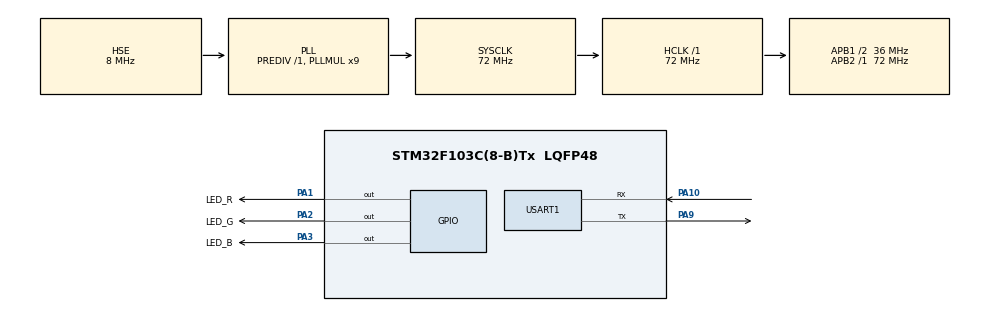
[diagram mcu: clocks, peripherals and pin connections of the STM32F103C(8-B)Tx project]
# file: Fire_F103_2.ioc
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FREERTOS.Tasks01=defaultTask,0,128,StartDefaultTask,Default,NULL,Dynamic,NULL,NULL;ledTask,0,128,StartLEDTask,Default,NULL,Dynamic,NULL,NULL;uartTask,-2,256,StartUartTAsk,Default,NULL,Dynamic,NULL,NULL
Mcu.Family=STM32F1
Mcu.Name=STM32F103C(8-B)Tx
Mcu.Package=LQFP48
NVIC.PriorityGroup=NVIC_PRIORITYGROUP_4
PA1.GPIO_Label=LED_R
PA1.PinState=GPIO_PIN_SET
PA1.Signal=GPIO_Output
PA10.Mode=Asynchronous
PA10.Signal=USART1_RX
PA13.Mode=Serial_Wire
PA13.Signal=SYS_JTMS-SWDIO
PA14.Mode=Serial_Wire
PA14.Signal=SYS_JTCK-SWCLK
PA2.GPIO_Label=LED_G
PA2.PinState=GPIO_PIN_SET
PA2.Signal=GPIO_Output
PA3.GPIO_Label=LED_B
PA3.PinState=GPIO_PIN_SET
PA3.Signal=GPIO_Output
PA9.Mode=Asynchronous
PA9.Signal=USART1_TX
PC14-OSC32_IN.Mode=LSE-External-Oscillator
PC14-OSC32_IN.Signal=RCC_OSC32_IN
PC15-OSC32_OUT.Mode=LSE-External-Oscillator
PC15-OSC32_OUT.Signal=RCC_OSC32_OUT
PD0-OSC_IN.Mode=HSE-External-Oscillator
PD0-OSC_IN.Signal=RCC_OSC_IN
PD1-OSC_OUT.Mode=HSE-External-Oscillator
PD1-OSC_OUT.Signal=RCC_OSC_OUT
ProjectManager.HeapSize=0x200
ProjectManager.StackSize=0x400
ProjectManager.TargetToolchain=MDK-ARM V5.32
RCC.AHBFreq_Value=72000000
RCC.APB1CLKDivider=RCC_HCLK_DIV2
RCC.APB1Freq_Value=36000000
RCC.APB1TimFreq_Value=72000000
RCC.APB2Freq_Value=72000000
RCC.APB2TimFreq_Value=72000000
RCC.HCLKFreq_Value=72000000
RCC.PLLMUL=RCC_PLL_MUL9
RCC.PLLSourceVirtual=RCC_PLLSOURCE_HSE
RCC.SYSCLKFreq_VALUE=72000000
RCC.SYSCLKSource=RCC_SYSCLKSOURCE_PLLCLK
RCC.USBFreq_Value=72000000
USART1.VirtualMode=VM_ASYNC
VP_FREERTOS_VS_CMSIS_V1.Mode=CMSIS_V1
board=custom

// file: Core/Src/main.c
/* USER CODE BEGIN Header */
/**
  ******************************************************************************
  * @file           : main.c
  * @brief          : Main program body
  ******************************************************************************
  * @attention
  *
  * Copyright (c) 2026 STMicroelectronics.
  * All rights reserved.
  *
  * This software is licensed under terms that can be found in the LICENSE file
  * in the root directory of this software component.
  * If no LICENSE file comes with this software, it is provided AS-IS.
  *
  ******************************************************************************
  */
/* USER CODE END Header */
#include "main.h"
#include "cmsis_os.h"
#include "usart.h"
#include "gpio.h"

/* USER CODE BEGIN Includes */
#include <stdio.h>
/* USER CODE END Includes */

void SystemClock_Config(void);
void MX_FREERTOS_Init(void);

int main(void)
{

  /* MCU Configuration--------------------------------------------------------*/

  /* Reset of all peripherals, Initializes the Flash interface and the Systick. */
  HAL_Init();

  /* Configure the system clock */
  SystemClock_Config();

  /* Initialize all configured peripherals */
  MX_GPIO_Init();
  MX_USART1_UART_Init();

  /* Call init function for freertos objects (in cmsis_os2.c) */
  MX_FREERTOS_Init();

  /* Start scheduler */
  osKernelStart();

  /* We should never get here as control is now taken by the scheduler */

  /* Infinite loop */
  while (1)
  {

  }
}

void SystemClock_Config(void)
{
  RCC_OscInitTypeDef RCC_OscInitStruct = {0};
  RCC_ClkInitTypeDef RCC_ClkInitStruct = {0};

  /** Initializes the RCC Oscillators according to the specified parameters
  * in the RCC_OscInitTypeDef structure.
  */
  RCC_OscInitStruct.OscillatorType = RCC_OSCILLATORTYPE_HSE;
  RCC_OscInitStruct.HSEState = RCC_HSE_ON;
  RCC_OscInitStruct.HSEPredivValue = RCC_HSE_PREDIV_DIV1;
  RCC_OscInitStruct.HSIState = RCC_HSI_ON;
  RCC_OscInitStruct.PLL.PLLState = RCC_PLL_ON;
  RCC_OscInitStruct.PLL.PLLSource = RCC_PLLSOURCE_HSE;
  RCC_OscInitStruct.PLL.PLLMUL = RCC_PLL_MUL9;
  if (HAL_RCC_OscConfig(&RCC_OscInitStruct) != HAL_OK)
  {
    Error_Handler();
  }

  /** Initializes the CPU, AHB and APB buses clocks
  */
  RCC_ClkInitStruct.ClockType = RCC_CLOCKTYPE_HCLK|RCC_CLOCKTYPE_SYSCLK
                              |RCC_CLOCKTYPE_PCLK1|RCC_CLOCKTYPE_PCLK2;
  RCC_ClkInitStruct.SYSCLKSource = RCC_SYSCLKSOURCE_PLLCLK;
  RCC_ClkInitStruct.AHBCLKDivider = RCC_SYSCLK_DIV1;
  RCC_ClkInitStruct.APB1CLKDivider = RCC_HCLK_DIV2;
  RCC_ClkInitStruct.APB2CLKDivider = RCC_HCLK_DIV1;

  if (HAL_RCC_ClockConfig(&RCC_ClkInitStruct, FLASH_LATENCY_2) != HAL_OK)
  {
    Error_Handler();
  }
}

/* USER CODE BEGIN 4 */
int fputc(int ch,FILE*f)
{
	(void)f;
	HAL_UART_Transmit(&huart1,(uint8_t *)&ch, 1 , HAL_MAX_DELAY);
	return ch;

}

/* USER CODE END 4 */

void Error_Handler(void)
{
  __disable_irq();
  while (1)
  {
  }
}

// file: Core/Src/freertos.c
/* USER CODE BEGIN Header */
/**
  ******************************************************************************
  * File Name          : freertos.c
  * Description        : Code for freertos applications
  ******************************************************************************
  * @attention
  *
  * Copyright (c) 2026 STMicroelectronics.
  * All rights reserved.
  *
  * This software is licensed under terms that can be found in the LICENSE file
  * in the root directory of this software component.
  * If no LICENSE file comes with this software, it is provided AS-IS.
  *
  ******************************************************************************
  */
/* USER CODE END Header */

#include "FreeRTOS.h"
#include "task.h"
#include "main.h"
#include "cmsis_os.h"

/* USER CODE BEGIN Includes */
#include "gpio.h"
#include "usart.h"
#include <stdio.h>

/* USER CODE END Includes */

/* USER CODE BEGIN Variables */
volatile uint32_t led_count=0;
volatile uint32_t uart_count=0;

/* USER CODE END Variables */
osThreadId defaultTaskHandle;
osThreadId ledTaskHandle;
osThreadId uartTaskHandle;

void StartDefaultTask(void const * argument);
void StartLEDTask(void const * argument);
void StartUartTAsk(void const * argument);

void MX_FREERTOS_Init(void); /* (MISRA C 2004 rule 8.1) */

/* GetIdleTaskMemory prototype (linked to static allocation support) */
void vApplicationGetIdleTaskMemory( StaticTask_t **ppxIdleTaskTCBBuffer, StackType_t **ppxIdleTaskStackBuffer, uint32_t *pulIdleTaskStackSize );

/* USER CODE BEGIN GET_IDLE_TASK_MEMORY */
static StaticTask_t xIdleTaskTCBBuffer;
static StackType_t xIdleStack[configMINIMAL_STACK_SIZE];

void vApplicationGetIdleTaskMemory( StaticTask_t **ppxIdleTaskTCBBuffer, StackType_t **ppxIdleTaskStackBuffer, uint32_t *pulIdleTaskStackSize )
{
  *ppxIdleTaskTCBBuffer = &xIdleTaskTCBBuffer;
  *ppxIdleTaskStackBuffer = &xIdleStack[0];
  *pulIdleTaskStackSize = configMINIMAL_STACK_SIZE;
  /* place for user code */
}
/* USER CODE END GET_IDLE_TASK_MEMORY */

void MX_FREERTOS_Init(void) {

  /* Create the thread(s) */
  /* definition and creation of defaultTask */
  osThreadDef(defaultTask, StartDefaultTask, osPriorityNormal, 0, 128);
  defaultTaskHandle = osThreadCreate(osThread(defaultTask), NULL);

  /* definition and creation of ledTask */
  osThreadDef(ledTask, StartLEDTask, osPriorityNormal, 0, 128);
  ledTaskHandle = osThreadCreate(osThread(ledTask), NULL);

  /* definition and creation of uartTask */
  osThreadDef(uartTask, StartUartTAsk, osPriorityLow, 0, 256);
  uartTaskHandle = osThreadCreate(osThread(uartTask), NULL);

}

void StartDefaultTask(void const * argument)
{
  for(;;)
  {
    osDelay(1);
  }
}

void StartLEDTask(void const * argument)
{
  /* USER CODE BEGIN StartLEDTask */
  /* Infinite loop */
  for(;;)
  {
		HAL_GPIO_TogglePin(GPIOA, LED_R_Pin);
		led_count++;
    osDelay(500);
  }
  /* USER CODE END StartLEDTask */
}

void StartUartTAsk(void const * argument)
{
  /* USER CODE BEGIN StartUartTAsk */
  /* Infinite loop */
  for(;;)
  {
		uart_count++;
		printf("uart task running  led_count=%lu uart=%lu\r\n",led_count,uart_count);

    osDelay(1000);
  }
  /* USER CODE END StartUartTAsk */
}
